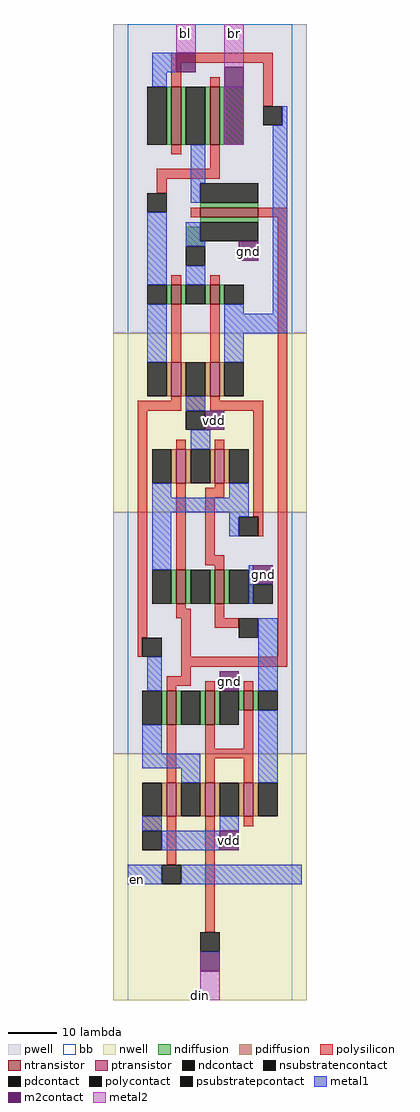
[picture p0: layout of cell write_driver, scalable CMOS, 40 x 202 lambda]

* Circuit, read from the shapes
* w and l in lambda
.subckt write_driver bl br din en gnd vdd
M1 n1 en n2 gnd nfet w=7 l=2
M2 gnd n2 n3 gnd nfet w=4 l=2
M3 n4 n5 bl gnd nfet w=12 l=2
M4 n6 en n7 gnd nfet w=7 l=2
M5 n4 en gnd gnd nfet w=12 l=2
M6 gnd din n1 gnd nfet w=7 l=2
M7 n5 n7 gnd gnd nfet w=4 l=2
M8 br n3 n4 gnd nfet w=12 l=2
M9 gnd n8 n6 gnd nfet w=7 l=2
M10 n8 din gnd gnd nfet w=4 l=2
M11 n2 en vdd vdd pfet w=7 l=2
M12 vdd n2 n3 vdd pfet w=7 l=2
M13 vdd en n7 vdd pfet w=7 l=2
M14 vdd din n2 vdd pfet w=7 l=2
M15 n5 n7 vdd vdd pfet w=7 l=2
M16 n7 n8 vdd vdd pfet w=7 l=2
M17 n8 din vdd vdd pfet w=7 l=2
.ends

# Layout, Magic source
magic
tech scmos
<< nwell >>
rect -3 101 37 138
rect -3 0 37 51
<< pwell >>
rect -3 138 37 202
rect -3 51 37 101
<< ntransistor >>
rect 9 177 11 189
rect 17 177 19 189
rect 15 162 27 164
rect 9 144 11 148
rect 17 144 19 148
rect 10 82 12 89
rect 18 82 20 89
rect 8 57 10 64
rect 16 57 18 64
rect 24 60 26 64
<< ptransistor >>
rect 9 125 11 132
rect 17 125 19 132
rect 10 107 12 114
rect 18 107 20 114
rect 8 38 10 45
rect 16 38 18 45
rect 24 38 26 45
<< ndiffusion >>
rect 8 177 9 189
rect 11 177 12 189
rect 16 177 17 189
rect 19 177 20 189
rect 15 164 27 165
rect 15 161 27 162
rect 12 157 15 160
rect 12 156 16 157
rect 8 144 9 148
rect 11 144 12 148
rect 16 144 17 148
rect 19 144 20 148
rect 9 82 10 89
rect 12 82 13 89
rect 17 82 18 89
rect 20 82 21 89
rect 25 82 26 86
rect 7 57 8 64
rect 10 57 11 64
rect 15 57 16 64
rect 18 57 19 64
rect 23 60 24 64
rect 26 60 27 64
<< pdiffusion >>
rect 8 125 9 132
rect 11 125 12 132
rect 16 125 17 132
rect 19 125 20 132
rect 12 122 16 125
rect 9 107 10 114
rect 12 107 13 114
rect 17 107 18 114
rect 20 107 21 114
rect 7 38 8 45
rect 10 38 11 45
rect 15 38 16 45
rect 18 38 19 45
rect 23 38 24 45
rect 26 38 27 45
rect 3 35 7 38
<< ndcontact >>
rect 4 177 8 189
rect 12 177 16 189
rect 20 177 24 189
rect 15 165 27 169
rect 15 157 27 161
rect 4 144 8 148
rect 12 144 16 148
rect 20 144 24 148
rect 5 82 9 89
rect 13 82 17 89
rect 21 82 25 89
rect 3 57 7 64
rect 11 57 15 64
rect 19 57 23 64
rect 27 60 31 64
<< pdcontact >>
rect 4 125 8 132
rect 12 125 16 132
rect 20 125 24 132
rect 5 107 9 114
rect 13 107 17 114
rect 21 107 25 114
rect 3 38 7 45
rect 11 38 15 45
rect 19 38 23 45
rect 27 38 31 45
<< psubstratepcontact >>
rect 12 152 16 156
rect 26 82 30 86
<< nsubstratencontact >>
rect 12 118 16 122
rect 3 31 7 35
<< polysilicon >>
rect 9 194 30 196
rect 9 189 11 194
rect 17 189 19 191
rect 28 185 30 194
rect 9 175 11 177
rect 17 172 19 177
rect 6 170 19 172
rect 6 167 8 170
rect 13 162 15 164
rect 27 162 33 164
rect 9 148 11 150
rect 17 148 19 150
rect 9 132 11 144
rect 17 132 19 144
rect 9 124 11 125
rect 2 122 11 124
rect 17 124 19 125
rect 17 122 28 124
rect 2 75 4 122
rect 10 114 12 116
rect 18 114 20 116
rect 10 89 12 107
rect 18 106 20 107
rect 16 104 20 106
rect 16 92 18 104
rect 26 100 28 122
rect 27 96 28 100
rect 16 90 20 92
rect 18 89 20 90
rect 10 81 12 82
rect 10 79 13 81
rect 2 71 3 75
rect 11 71 13 79
rect 18 79 20 82
rect 18 77 23 79
rect 31 71 33 162
rect 11 69 33 71
rect 11 67 13 69
rect 8 65 13 67
rect 8 64 10 65
rect 16 64 18 66
rect 24 64 26 66
rect 8 45 10 57
rect 16 52 18 57
rect 24 52 26 60
rect 16 50 26 52
rect 16 45 18 50
rect 24 45 26 50
rect 8 28 10 38
rect 16 14 18 38
rect 24 36 26 38
<< polycontact >>
rect 28 181 32 185
rect 4 163 8 167
rect 23 96 27 100
rect 3 71 7 75
rect 23 75 27 79
rect 7 24 11 28
rect 15 10 19 14
<< metal1 >>
rect 5 192 10 196
rect 5 189 8 192
rect 32 181 33 185
rect 13 169 16 177
rect 13 165 15 169
rect 4 148 8 163
rect 12 157 15 161
rect 12 156 16 157
rect 12 148 16 152
rect 4 132 8 144
rect 20 142 24 144
rect 30 142 33 181
rect 20 138 33 142
rect 20 132 24 138
rect 12 122 16 125
rect 13 114 17 118
rect 5 104 9 107
rect 21 104 25 107
rect 5 101 25 104
rect 5 89 9 101
rect 21 100 25 101
rect 21 96 23 100
rect 25 82 26 90
rect 4 64 7 71
rect 27 64 31 79
rect 3 51 7 57
rect 3 48 15 51
rect 11 45 15 48
rect 27 45 31 60
rect 3 35 7 38
rect 19 35 23 38
rect 7 31 19 35
rect 0 24 7 28
rect 11 24 36 28
<< m2contact >>
rect 10 192 14 196
rect 20 189 24 193
rect 23 153 27 157
rect 16 118 20 122
rect 26 86 30 90
rect 19 64 23 68
rect 19 31 23 35
rect 15 6 19 10
<< metal2 >>
rect 10 196 14 202
rect 20 193 24 202
rect 20 177 24 189
rect 15 0 19 6
<< bb >>
rect 0 0 34 202
<< labels >>
rlabel metal2 15 1 15 1 1 din
rlabel metal1 2 25 2 25 3 en
rlabel metal2 12 200 12 200 5 bl
rlabel metal2 22 200 22 200 5 br
rlabel m2contact 21 66 21 66 1 gnd
rlabel m2contact 28 88 28 88 1 gnd
rlabel m2contact 21 33 21 33 1 vdd
rlabel m2contact 18 120 18 120 1 vdd
rlabel m2contact 25 155 25 155 1 gnd
<< end >>
